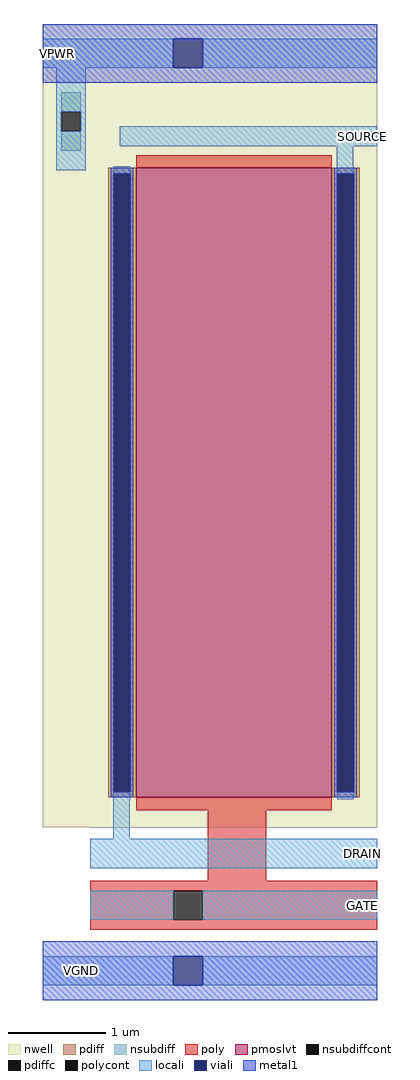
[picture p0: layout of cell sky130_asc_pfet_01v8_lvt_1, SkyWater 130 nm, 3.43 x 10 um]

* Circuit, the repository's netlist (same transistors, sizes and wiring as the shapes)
* NGSPICE file created from sky130_asc_pfet_01v8_lvt_1.ext - technology: sky130A

.subckt sky130_asc_pfet_01v8_lvt_1 GATE SOURCE DRAIN VGND VPWR
X0 SOURCE GATE DRAIN VPWR sky130_fd_pr__pfet_01v8_lvt ad=1.8705e+12p pd=1.348e+07u as=1.8705e+12p ps=1.348e+07u w=6.45e+06u l=2e+06u
.ends

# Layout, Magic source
magic
tech sky130A
magscale 1 2
<< nwell >>
rect 120 294 806 1940
rect 218 293 806 294
<< pmoslvt >>
rect 312 355 712 1645
<< pdiff >>
rect 254 1633 312 1645
rect 254 367 266 1633
rect 300 367 312 1633
rect 254 355 312 367
rect 712 1633 770 1645
rect 712 367 724 1633
rect 758 367 770 1633
rect 712 355 770 367
<< pdiffc >>
rect 266 367 300 1633
rect 724 367 758 1633
<< nsubdiff >>
rect 158 1760 198 1800
rect 158 1680 198 1720
<< nsubdiffcont >>
rect 158 1720 198 1760
<< poly >>
rect 312 1645 712 1671
rect 312 329 712 355
rect 458 184 578 329
rect 218 164 806 184
rect 218 104 388 164
rect 448 104 806 164
rect 218 84 806 104
<< polycont >>
rect 388 104 448 164
<< locali >>
rect 120 1850 388 1910
rect 448 1850 806 1910
rect 148 1760 208 1850
rect 148 1720 158 1760
rect 198 1720 208 1760
rect 148 1640 208 1720
rect 278 1690 806 1730
rect 723 1649 757 1690
rect 266 1633 300 1649
rect 265 367 266 374
rect 723 1633 758 1649
rect 723 1626 724 1633
rect 265 351 300 367
rect 724 351 758 367
rect 265 270 299 351
rect 218 210 806 270
rect 218 104 388 164
rect 448 104 806 164
rect 120 -30 388 30
rect 448 -30 806 30
<< viali >>
rect 388 1850 448 1910
rect 266 367 300 1633
rect 724 367 758 1633
rect 388 -30 448 30
<< metal1 >>
rect 120 1910 806 1940
rect 120 1850 388 1910
rect 448 1850 806 1910
rect 120 1820 806 1850
rect 260 1633 306 1645
rect 260 367 266 1633
rect 300 367 306 1633
rect 260 355 306 367
rect 718 1633 764 1645
rect 718 367 724 1633
rect 758 367 764 1633
rect 718 355 764 367
rect 120 30 806 60
rect 120 -30 388 30
rect 448 -30 806 30
rect 120 -60 806 -30
<< labels >>
flabel nwell 120 1850 180 1910 1 FreeSans 800 0 0 0 VPWR
port 4 n power bidirectional
flabel metal1 120 -30 278 30 1 FreeSans 800 0 0 0 VGND
port 5 n ground bidirectional
flabel locali 746 1690 806 1730 1 FreeSans 800 0 0 0 SOURCE
port 2 n signal bidirectional
flabel locali 746 210 806 270 1 FreeSans 800 0 0 0 DRAIN
port 3 n signal bidirectional
flabel locali 746 104 806 164 1 FreeSans 800 0 0 0 GATE
port 1 n signal bidirectional
<< properties >>
string FIXED_BBOX 0 0 926 1880
string LEFclass CORE
string LEFsite unitasc
<< end >>
